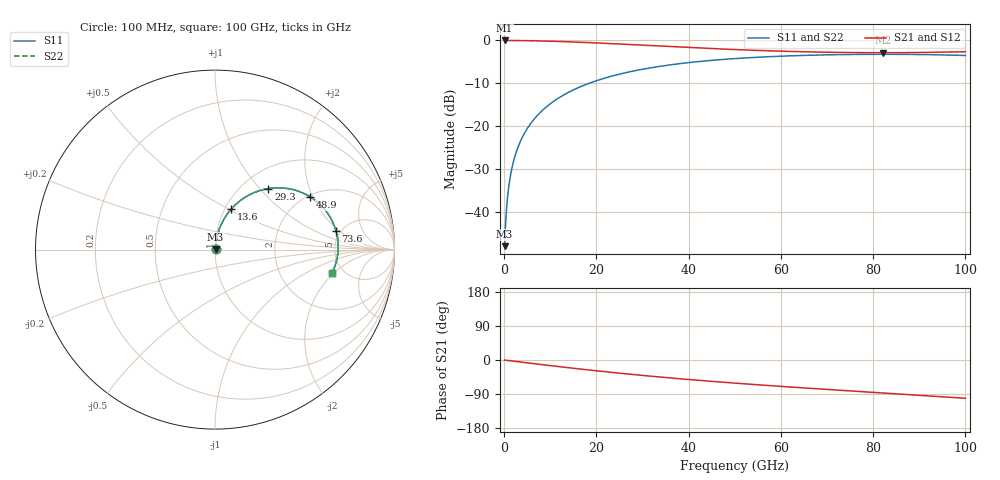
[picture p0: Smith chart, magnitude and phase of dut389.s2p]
! Touchstone file exported from HFSS 2026.1.0
!  File:  C:/ffzhzh/LocalFiles/Ansys_Project_Files/temp_train_RDL_389_1783503874_55944.aedt
!  Generated:  05:45:48 PM Jul  8, 2026
!  Design:  RDL
!  Project:  temp_train_RDL_389_1783503874_55944
! Variables:
!  h_bsmrdl = 2um
!  h_ox = 20um
!  h_rdl = 5um
!  h_sub = 80um
!  h_tmrdl = 2.6um
!  h_tsv = 80um
!  h_via = 3um
!  l_bsmrdl = 300um
!  l_sub = 735.11um
!  l_tmrdl = 335.11um
!  m_sub = 200um
!  pitch = 48.3um
!  r_tsv = 6um
!  s_tmrdl = 10um
!  w_bsmrdl = 18um
!  w_sub = 500um
!  w_tmrdl = 14.1um
!  x_tsv_center1 = 342.16um
!  x_tsv_center2 = 660.16um
!  x_tsv_center3 = 1009.37um
!  x_tsv_center4 = 1327.37um
!  x_tsv_center5 = 1676.58um
!  x_tsv_center6 = 1994.58um
# GHz S MA R 50.000000
! Terminal data exported
! Port[1] = TM_RDL1_1_T1
! Port[2] = TM_RDL1_1_T2
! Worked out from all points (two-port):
!   1000 points, 100 MHz to 100 GHz, reference 50 ohm
!   highest |S21| = -0.03 dB at 100 MHz (marker M1); lowest = -2.9 dB at 82.2 GHz (marker M2)
!   |S21| within 3 dB of the highest: start of sweep to end of sweep
!   lowest |S11| = -48.1 dB at 100 MHz (marker M3), VSWR 1.01, Z = 50.3 + j0.198 ohm
!   |S11| at or under -10 dB: start of sweep to 18.51 GHz
!   |S22| runs from -48.1 to -3.3 dB; largest |S21 - S12| = 5.3e-15
!   S11 on the Smith chart (normalised r, x): 100 MHz: 1.01, +0.00; 13.6 GHz: 1.07, +0.51; 29.3 GHz: 1.31, +1.12; 48.9 GHz: 2.05, +1.91; 73.6 GHz: 4.55, +1.80; 100 GHz: 4.05, -1.88
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0.1  0.003946 29.9  0.9966 -0.2  0.9966 -0.2  0.003946 29.9
! Gamma 0 0 0 0
! Port Impedance 50 0 50 0
0.4  0.008609 64.8  0.9964 -0.6  0.9964 -0.6  0.008609 64.8
0.9  0.01769 75.9  0.996 -1.4  0.996 -1.4  0.01769 75.9
1.4  0.02687 79.2  0.9956 -2.1  0.9956 -2.1  0.02687 79.2
1.8  0.03425 80.3  0.9953 -2.7  0.9953 -2.7  0.03425 80.3
2.3  0.04348 80.9  0.9948 -3.5  0.9948 -3.5  0.04348 80.9
3.5  0.06563 80.8  0.9933 -5.3  0.9933 -5.3  0.06563 80.8
5.3  0.09858 79.2  0.9902 -8.0  0.9902 -8.0  0.09858 79.2
7.5  0.1381 76.5  0.9849 -11.2  0.9849 -11.2  0.1381 76.5
10.3  0.1868 72.8  0.976 -15.2  0.976 -15.2  0.1868 72.8
13.6  0.2414 68.3  0.963 -19.9  0.963 -19.9  0.2414 68.3
16.8  0.2911 64.1  0.9484 -24.3  0.9484 -24.3  0.2911 64.1
22.5  0.371 56.9  0.9192 -31.7  0.9192 -31.7  0.371 56.9
29.3  0.4519 48.8  0.8818 -39.9  0.8818 -39.9  0.4519 48.8
33.4  0.4933 44.3  0.8594 -44.5  0.8594 -44.5  0.4933 44.3
48.9  0.6061 29.1  0.7849 -60.0  0.7849 -60.0  0.6061 29.1
50.1  0.6123 28.0  0.7801 -61.1  0.7801 -61.1  0.6123 28.0
66.7  0.6708 14.2  0.7317 -75.1  0.7317 -75.1  0.6708 14.2
73.6  0.6821 8.9  0.7216 -80.5  0.7216 -80.5  0.682 8.9
82.2  0.6869 2.4  0.7171 -87.1  0.7171 -87.1  0.6869 2.4
83.4  0.6868 1.5  0.7172 -88.0  0.7172 -88.0  0.6868 1.5
100  0.6649 -11.2  0.7367 -101.0  0.7367 -101.0  0.6649 -11.3
